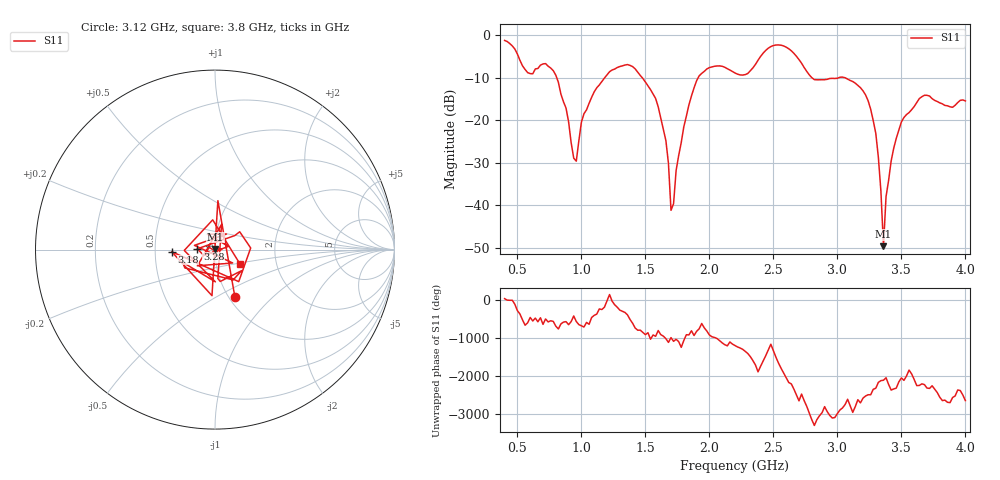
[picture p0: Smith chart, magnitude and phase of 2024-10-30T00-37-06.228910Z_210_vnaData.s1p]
!Created with skrf (http://scikit-rf.org).
# Hz S RI R 50.0
!freq ReS11 ImS11
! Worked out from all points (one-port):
!   181 points, 400 MHz to 4 GHz, reference 50 ohm
!   lowest |S11| = -49.6 dB at 3.36 GHz (marker M1), VSWR 1.01, Z = 50.2 + j0.277 ohm
!   |S11| at or under -10 dB: 807.3 MHz to 1.182 GHz (374.5 MHz wide, 37.7 % of centre); 1.475 GHz to 1.912 GHz (436.8 MHz wide, 25.8 % of centre); 3.06 GHz to end of sweep (the widest 3 of 4)
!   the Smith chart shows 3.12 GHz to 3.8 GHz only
!   S11 on the Smith chart (normalised r, x): 3.12 GHz: 1.07, -0.61; 3.18 GHz: 0.61, -0.02; 3.28 GHz: 0.82, +0.01; 3.8 GHz: 1.30, -0.21
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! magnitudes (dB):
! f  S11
! 400 MHz  -1.2
! 580 MHz  -8.8
! 780 MHz  -8.3
! 860 MHz  -15.7
! 960 MHz  -29.6
! 1.02 GHz  -18.4
! 1.3 GHz  -7.4
! 1.58 GHz  -14.9
! 1.66 GHz  -24.8
! 1.7 GHz  -41.1
! 1.76 GHz  -28.3
! 1.92 GHz  -9.6
! 2.2 GHz  -8.9
! 2.5 GHz  -2.4
! 2.66 GHz  -4.3
! 2.82 GHz  -10.4
! 3.1 GHz  -10.6
! 3.12 GHz  -10.9
! 3.18 GHz  -12.3
! 3.28 GHz  -20.1
! 3.32 GHz  -28.7
! 3.36 GHz  -49.6
! 3.38 GHz  -37.9
! 3.42 GHz  -29.5
! 3.56 GHz  -18.2
! 3.68 GHz  -14.1
! 3.8 GHz  -15.9
! 4 GHz  -15.4
